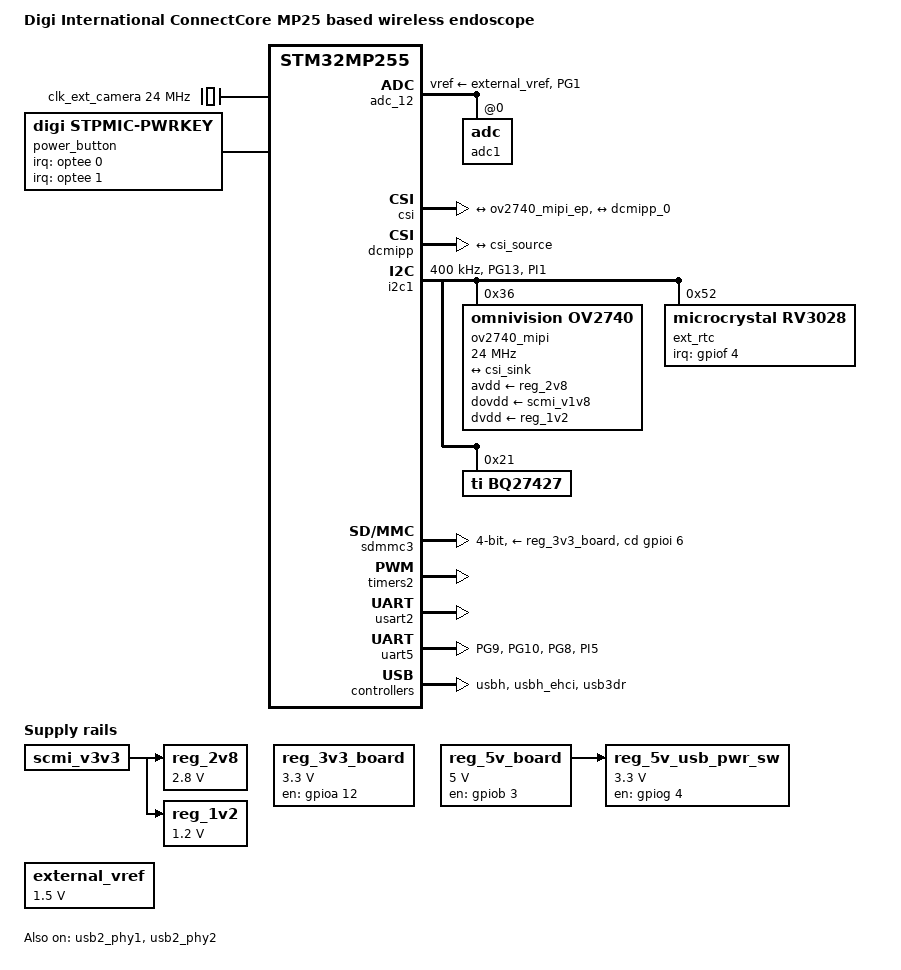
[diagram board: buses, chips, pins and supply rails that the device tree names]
// SPDX-License-Identifier: (GPL-2.0-or-later OR BSD-3-Clause)
/*
 * Copyright (C) 2024,2025, Digi International Inc.
 *
 * Permission to use, copy, modify, and/or distribute this software for any
 * purpose with or without fee is hereby granted, provided that the above
 * copyright notice and this permission notice appear in all copies.
 * THE SOFTWARE IS PROVIDED "AS IS" AND THE AUTHOR DISCLAIMS ALL WARRANTIES
 * WITH REGARD TO THIS SOFTWARE INCLUDING ALL IMPLIED WARRANTIES OF
 * MERCHANTABILITY AND FITNESS. IN NO EVENT SHALL THE AUTHOR BE LIABLE FOR
 * ANY SPECIAL, DIRECT, INDIRECT, OR CONSEQUENTIAL DAMAGES OR ANY DAMAGES
 * WHATSOEVER RESULTING FROM LOSS OF USE, DATA OR PROFITS, WHETHER IN AN
 * ACTION OF CONTRACT, NEGLIGENCE OR OTHER TORTIOUS ACTION, ARISING OUT OF
 * OR IN CONNECTION WITH THE USE OR PERFORMANCE OF THIS SOFTWARE.
 */

/dts-v1/;

/* STM32MP25 CPU */
#include "../st/stm32mp255.dtsi"
#include "../st/stm32mp25xf.dtsi"
#include "../st/stm32mp25-pinctrl.dtsi"
#include "../st/stm32mp25xxai-pinctrl.dtsi"
/* Digi ConnectCore MP25 (SOM) */
#include "ccmp25.dtsi"

#include <dt-bindings/gpio/gpio.h>
#include <dt-bindings/input/input.h>
#include <dt-bindings/leds/common.h>
#include <dt-bindings/regulator/st,stm32mp25-regulator.h>
#include "dt-bindings/pwm/pwm.h"

/ {
	model = "Digi International ConnectCore MP25 based wireless endoscope";
	compatible = "digi,ccmp25-dvk", "digi,ccmp25", "digi,ccmp2", "st,stm32mp255";
	digi,machine,name = "ccmp255-dvk";

	system-info {
    	compatible = "Softlink,system-info";
		product-id = "WIRELESS-ENDOSCOPE-CCMP25";
    	pcb-revision = "Rev 1.0";
    	firmware-version = "DEY5.0r2-20251211";
	};

	aliases {
		serial2 = &uart5; /* Console M33 / XBEE */
		serial3 = &usart6; /* Connector J11 */
		serial5 = &lpuart1; /* Cortex-M0+ UART */
	};

	chosen {
		stdout-path = "serial0:115200n8";
		#address-cells = <2>;
		#size-cells = <2>;
		ranges;

		framebuffer {
			compatible = "simple-framebuffer";
			clocks = <&rcc CK_BUS_LTDC>, <&rcc CK_KER_LTDC>,
				 <&rcc CK_BUS_LVDS>, <&rcc CK_KER_LVDSPHY>;
			status = "disabled";
		};
	};

	clocks {
		cec_clock: cec-clock {
			compatible = "fixed-clock";
			#clock-cells = <0>;
			clock-frequency = <12000000>;
		};

		clk_ext_camera: clk-ext-camera {
			#clock-cells = <0>;
			compatible = "fixed-clock";
			clock-frequency = <24000000>;
		};

		pad_clk: pad-clk {
			#clock-cells = <0>;
			compatible = "fixed-clock";
			clock-frequency = <100000000>;
		};
	};

	
	power_button {
		compatible = "digi,stpmic-pwrkey";
		interrupts-extended = <&optee 0>, <&optee 1>;
		interrupt-names = "stpmic_pwrkey_fall", "stpmic_pwrkey_rise";
		status = "okay";
	};

	regulators {
		compatible = "simple-bus";
		#address-cells = <1>;
		#size-cells = <0>;

		reg_3v3_board: regulator-board@1 {
			compatible = "regulator-fixed";
			reg = <1>;
			regulator-name = "3v3_board";
			regulator-min-microvolt = <3300000>;
			regulator-max-microvolt = <3300000>;
			gpio = <&gpioa 12 GPIO_ACTIVE_HIGH>; /* 3V3_BOARD_EN */
			enable-active-high;
			status = "okay";
		};

		reg_2v8: regulator-2v8 {  /* 从3.3V转换 */
    		compatible = "regulator-fixed";
    		regulator-name = "2v8";
    		regulator-min-microvolt = <2800000>;
    		regulator-max-microvolt = <2800000>;
    		vin-supply = <&scmi_v3v3>;  /* 指明父电源 */
    		enable-active-high;
		};

		reg_1v2: regulator-1v2 {  /* 从3.3V转换 */
    		compatible = "regulator-fixed";
    		regulator-name = "1v2";
    		regulator-min-microvolt = <1200000>;
    		regulator-max-microvolt = <1200000>;
    		vin-supply = <&scmi_v3v3>;  /* 指明父电源 */
    		enable-active-high;
		};




		reg_5v_board: regulator-board@2 {
			compatible = "regulator-fixed";
			reg = <2>;
			regulator-name = "5v_board";
			regulator-min-microvolt = <5000000>;
			regulator-max-microvolt = <5000000>;
			regulator-enable-ramp-delay = <8000>;
			gpio = <&gpiob 3 GPIO_ACTIVE_HIGH>; /* 5V_BOARD_EN */
			enable-active-high;
			status = "okay";
		};

		reg_5v_usb_pwr_sw: regulator-board@3 {
			compatible = "regulator-fixed";
			reg = <3>;
			regulator-name = "5v_usb_pwr_sw";
			regulator-min-microvolt = <3300000>;
			regulator-max-microvolt = <3300000>;
			gpio = <&gpiog 4 GPIO_ACTIVE_HIGH>; /* NX5P3290_EN */
			enable-active-high;
			vin-supply = <&reg_5v_board>;
			status = "okay";
		};

		external_vref: regulator-board@4 {
			reg = <4>;
			compatible = "regulator-fixed";
			regulator-name = "external-vref";
			regulator-min-microvolt = <1500000>;
			regulator-max-microvolt = <1500000>;
			status = "okay";
		};
	};

};

/*
 * Internal VREFBUF is not supported yet.
 * VREF+ pad is not connected. External 1.8V must be supplied
 * at VREF+ pad for the ADC to work.
 * To supply a different reference voltage, edit the voltage
 * of the 'external_vref' regulator (Max is 1.8V).
 */
&adc_12 {
	vref-supply = <&external_vref>;
	vdda-supply = <&scmi_vdda18adc>;
	pinctrl-names = "default";
	pinctrl-0 = <&ccmp25_adc_pins>;
	status = "okay";

	adc1: adc@0 {
		status = "okay";

		channel@0 {
			reg = <0>;
			/* 16.5 ck_cycles sampling time */
			st,min-sample-time-ns = <400>;
		};

		channel@1 {
			reg = <1>;
			/* 16.5 ck_cycles sampling time */
			st,min-sample-time-ns = <400>;
		};

		channel@6 {
			reg = <6>;
			/* 16.5 ck_cycles sampling time */
			st,min-sample-time-ns = <400>;
		};
	};
};


&csi {
	vdd-supply =  <&scmi_vddcore>;
	vdda18-supply = <&scmi_v1v8>;
	status = "okay";
	st,transparent;	/* 强制启用passthrough模式 */

	ports {
		#address-cells = <1>;
		#size-cells = <0>;
		port@0 {
			reg = <0>;
			csi_sink: endpoint {
				remote-endpoint = <&ov2740_mipi_ep>;
				data-lanes = <0 1>;
				bus-type = <4>;
				st,isp-disabled; /* 禁用ISP处理 */
			};
		};
		port@1 {
			reg = <1>;
			csi_source: endpoint {
				remote-endpoint = <&dcmipp_0>;
			};
		};
	};
};

&dcmipp {
	status = "okay";
	port {
		dcmipp_0: endpoint {
			remote-endpoint = <&csi_source>;
			bus-type = <4>;
		};
	};
};


/* Peripheral I2C bus (J18 Connector) */
&i2c1 {
	pinctrl-names = "default", "sleep";
	pinctrl-0 = <&ccmp25_i2c1_pins>;
	pinctrl-1 = <&ccmp25_i2c1_sleep_pins>;
	i2c-scl-rising-time-ns = <185>;
	i2c-scl-falling-time-ns = <20>;
	clock-frequency = <400000>;
	status = "okay";
	/* spare dmas for other usage */
	/delete-property/dmas;
	/delete-property/dma-names;

	/*
	 * An inconsistent reset sequence makes
	 * the Goodix display's touch controller respond to one of two I2C
	 * addresses: 0x14 and 0x5D. To make sure the touchscreen
	 * works every time, the touch controller's description must
	 * be duplicated for both addresses.
	 */

	/* MIPI-CSI camera */
	ov2740_mipi: ov2740_mipi@36 {
		compatible = "omnivision,ov2740";
		reg = <0x36>;
		clocks = <&clk_ext_camera>;
		clock-names = "xclk";
		clock-frequency = <24000000>;
		
		avdd-supply   = <&reg_2v8>;
		dovdd-supply = <&scmi_v1v8>;
		dvdd-supply   = <&reg_1v2>;

		/* CSI_RESET */
		/* reset-gpios or	powerdown-gpios = <&gpiog 7 (GPIO_ACTIVE_LOW | GPIO_PUSH_PULL)>; */
		status = "okay";

		port {
			ov2740_mipi_ep: endpoint {
				remote-endpoint = <&csi_sink>;
				link-frequencies = /bits/ 64 <360000000>;
				clock-lanes = <0>;
				data-lanes = <1 2>;
			};
		};
	};

	ext_rtc: ext_rtc@52 {
		compatible = "microcrystal,rv3028";
		reg = <0x52>;
		interrupt-parent = <&gpiof>;
		interrupts = <4 IRQ_TYPE_EDGE_FALLING>; /* RTC_INT_N */
	};
    /* BQ27427电量计 */
    bq27427: battery@21 {
        compatible = "ti,bq27427";  /* 或 "ti,bq27xxx" */
        reg = <0x21>;               /* 7位I2C地址，U-Boot探测到的0x21 */
        
        /* 电池参数配置 */
        ti,design-capacity = <3400>;    /* 电池设计容量(mAh) */
        ti,design-voltage = <3700>;     /* 电池设计电压(mV) */
        ti,cur-sense = <10>;            /* 检流电阻(mΩ) */
        
        status = "okay";
    };

};


/* Micro SD */
&sdmmc3 {
	pinctrl-names = "default", "opendrain", "sleep";
	pinctrl-0 = <&sdmmc3_b4_pins_a>;
	pinctrl-1 = <&sdmmc3_b4_od_pins_a>;
	pinctrl-2 = <&sdmmc3_b4_sleep_pins_a>;
	cd-gpios = <&gpioi 6 GPIO_ACTIVE_HIGH>;
	disable-wp;
	st,neg-edge;
	no-1-8-v;
	bus-width = <4>;
	vmmc-supply = <&reg_3v3_board>; /* card's VDD pin */
	vqmmc-supply = <&scmi_vddio3>;
	status = "okay";
};


&timers2 {
	/delete-property/dmas;
	/delete-property/dma-names;
	status = "okay";
	pwm_mikrobus: pwm {
		pinctrl-0 = <&ccmp25_pwm2_pins>;
		pinctrl-1 = <&ccmp25_pwm2_sleep_pins>;
		pinctrl-names = "default", "sleep";
		status = "okay";
	};
	timer@1 {
		status = "okay";
	};
};

/* Console A35 */
&usart2 {
	pinctrl-names = "default", "idle", "sleep";
	pinctrl-0 = <&usart2_pins_a>;
	pinctrl-1 = <&usart2_idle_pins_a>;
	pinctrl-2 = <&usart2_sleep_pins_a>;
	/delete-property/dmas;
	/delete-property/dma-names;
	status = "okay";
};

/* Console M33 / XBEE */
&uart5 {
	pinctrl-names = "default", "idle", "sleep";
	pinctrl-0 = <&ccmp25_uart5_pins &ccmp25_uart5_rtscts_pins>;
	pinctrl-1 = <&ccmp25_uart5_idle_pins &ccmp25_uart5_rtscts_idle_pins>;
	pinctrl-2 = <&ccmp25_uart5_sleep_pins &ccmp25_uart5_rtscts_sleep_pins>;
	uart-has-rtscts;
	status = "okay";
};


/* USB 2.0 Host */
&usb2_phy1 {
	vdd33-supply = <&scmi_vdd3v3_usb>;
	status = "okay";
};


&usbh {
	status = "okay";
};

&usbh_ehci {
	status = "okay";
};

/* USB 2.0/3.0 Host/Device */
&usb2_phy2 {
	vdd33-supply = <&scmi_vdd3v3_usb>;
	status = "okay";
};

&usb3dr {
	status = "okay";

	dwc3: usb@48300000 {
		maximum-speed = "high-speed";
		usb-role-switch;
		role-switch-default-mode = "peripheral";
	};
};

&pinctrl {
	ccmp25_adc_pins: ccmp25-adc-pins-0 {
		pins {
			pinmux = <STM32_PINMUX('G', 1, ANALOG)>;
		};
	};

	ccmp25_i2c1_pins: ccmp25-i2c1-0 {
		pins {
			pinmux = <STM32_PINMUX('G', 13, AF9)>, /* I2C1_SCL */
				 <STM32_PINMUX('I', 1, AF9)>; /* I2C1_SDA */
			bias-disable;
			drive-open-drain;
			slew-rate = <0>;
		};
	};

	ccmp25_i2c1_sleep_pins: ccmp25-i2c1-sleep-0 {
		pins {
			pinmux = <STM32_PINMUX('G', 13, ANALOG)>, /* I2C1_SCL */
				 <STM32_PINMUX('I', 1, ANALOG)>; /* I2C1_SDA */
		};
	};

	ccmp25_lpuart1_pins: ccmp25-lpuart1-0 {
		pins1 {
			pinmux = <STM32_PINMUX('Z', 7, AF6)>; /* LPUART1_TX */
			bias-disable;
			drive-push-pull;
			slew-rate = <0>;
		};
		pins2 {
			pinmux = <STM32_PINMUX('Z', 4, AF6)>; /* LPUART1_RX */
			bias-pull-up;
		};
	};

	ccmp25_lpuart1_idle_pins: ccmp25-lpuart1-idle-0 {
		pins1 {
			pinmux = <STM32_PINMUX('Z', 7, ANALOG)>; /* LPUART1_TX */
		};
		pins2 {
			pinmux = <STM32_PINMUX('Z', 4, AF6)>; /* LPUART1_RX */
			bias-pull-up;
		};
	};

	ccmp25_lpuart1_sleep_pins: ccmp25-lpuart1-sleep-0 {
		pins {
			pinmux = <STM32_PINMUX('Z', 7, ANALOG)>, /* LPUART1_TX */
				 <STM32_PINMUX('Z', 4, ANALOG)>; /* LPUART1_RX */
		};
	};


	ccmp25_pwm2_pins: ccmp25-pwm2-0 {
		pins {
			pinmux = <STM32_PINMUX('F', 11, AF7)>; /* TIM2_CH4 */
			bias-disable;
			drive-push-pull;
			slew-rate = <0>;
		};
	};

	ccmp25_pwm2_sleep_pins: ccmp25-pwm2-sleep-0 {
		pins {
			pinmux = <STM32_PINMUX('F', 11, ANALOG)>; /* TIM2_CH4 */
		};
	};

	
	ccmp25_uart5_pins: ccmp25-uart5-0 {
		pins1 {
			pinmux = <STM32_PINMUX('G', 9, AF5)>; /* UART5_TX */
			bias-disable;
			drive-push-pull;
			slew-rate = <0>;
		};
		pins2 {
			pinmux = <STM32_PINMUX('G', 10, AF5)>; /* UART5_RX */
			bias-disable;
		};
	};

	ccmp25_uart5_idle_pins: ccmp25-uart5-idle-0 {
		pins1 {
			pinmux = <STM32_PINMUX('G', 9, ANALOG)>; /* UART5_TX */
		};
		pins2 {
			pinmux = <STM32_PINMUX('G', 10, AF5)>; /* UART5_RX */
			bias-disable;
		};
	};

	ccmp25_uart5_sleep_pins: ccmp25-uart5-sleep-0 {
		pins {
			pinmux = <STM32_PINMUX('G', 9, ANALOG)>, /* UART5_TX */
				 <STM32_PINMUX('G', 10, ANALOG)>; /* UART5_RX */
		};
	};

	ccmp25_uart5_rtscts_pins: ccmp25-uart5-rtscts-0 {
		pins1 {
			pinmux = <STM32_PINMUX('G', 8, AF5)>;  /* UART5_RTS */
			bias-disable;
			drive-push-pull;
			slew-rate = <0>;
		};
		pins2 {
			pinmux = <STM32_PINMUX('I', 5, AF5)>; /* UART5_CTS */
			bias-pull-up;
		};
	};

	ccmp25_uart5_rtscts_idle_pins: ccmp25-uart5-rtscts-idle-0 {
		pins1 {
			pinmux = <STM32_PINMUX('I', 5, ANALOG)>; /* UART5_CTS */
		};
		pins2 {
			pinmux = <STM32_PINMUX('G', 8, AF5)>; /* UART5_RTS */
			bias-disable;
			drive-push-pull;
			slew-rate = <0>;
		};
	};

	ccmp25_uart5_rtscts_sleep_pins: ccmp25-uart5-rtscts-sleep-0 {
		pins {
			pinmux = <STM32_PINMUX('G', 8, ANALOG)>, /* UART5_RTS */
				 <STM32_PINMUX('I', 5, ANALOG)>; /* UART5_CTS */
		};
	};
};
